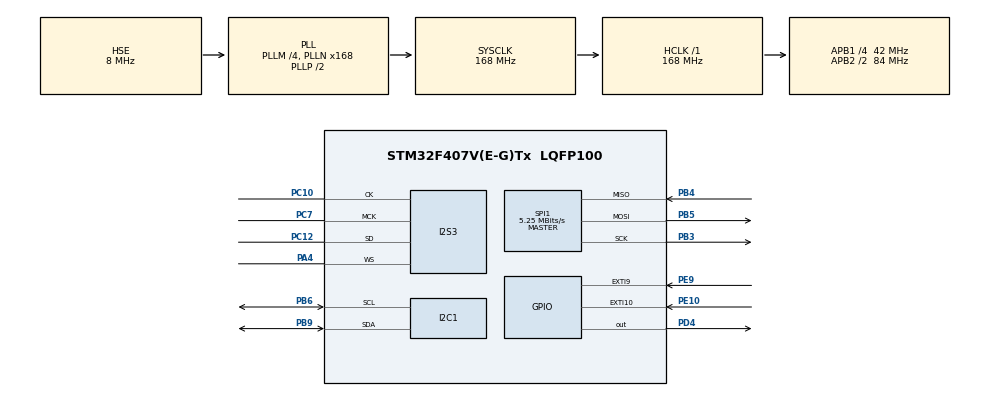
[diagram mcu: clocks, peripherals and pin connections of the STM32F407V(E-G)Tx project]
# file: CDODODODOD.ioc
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Dma.Request0=SPI3_TX
Dma.SPI3_TX.0.Direction=DMA_MEMORY_TO_PERIPH
Dma.SPI3_TX.0.FIFOMode=DMA_FIFOMODE_ENABLE
Dma.SPI3_TX.0.FIFOThreshold=DMA_FIFO_THRESHOLD_FULL
Dma.SPI3_TX.0.Instance=DMA1_Stream5
Dma.SPI3_TX.0.MemBurst=DMA_MBURST_SINGLE
Dma.SPI3_TX.0.MemDataAlignment=DMA_MDATAALIGN_HALFWORD
Dma.SPI3_TX.0.MemInc=DMA_MINC_ENABLE
Dma.SPI3_TX.0.Mode=DMA_CIRCULAR
Dma.SPI3_TX.0.PeriphBurst=DMA_PBURST_SINGLE
Dma.SPI3_TX.0.PeriphDataAlignment=DMA_PDATAALIGN_HALFWORD
Dma.SPI3_TX.0.PeriphInc=DMA_PINC_DISABLE
Dma.SPI3_TX.0.Priority=DMA_PRIORITY_LOW
I2S3.AudioFreq=I2S_AUDIOFREQ_48K
I2S3.ErrorAudioFreq=-2.34 %
I2S3.FullDuplexMode=I2S_FULLDUPLEXMODE_DISABLE
I2S3.Instance=SPI$Index
I2S3.RealAudioFreq=46.875 KHz
I2S3.VirtualMode=I2S_MODE_MASTER
Mcu.Family=STM32F4
Mcu.Name=STM32F407V(E-G)Tx
Mcu.Package=LQFP100
NVIC.DMA1_Stream5_IRQn=true\:0\:0\:false\:false\:true\:false\:true
NVIC.EXTI15_10_IRQn=true\:0\:0\:false\:false\:true\:true\:true
NVIC.EXTI9_5_IRQn=true\:0\:0\:false\:false\:true\:true\:true
NVIC.PriorityGroup=NVIC_PRIORITYGROUP_4
NVIC.TIM3_IRQn=true\:0\:0\:false\:false\:true\:true\:true
NVIC.TIM6_DAC_IRQn=true\:0\:0\:false\:false\:true\:true\:true
PA4.Mode=Half_Duplex_Master
PA4.Signal=I2S3_WS
PB3.Mode=Full_Duplex_Master
PB3.Signal=SPI1_SCK
PB4.Mode=Full_Duplex_Master
PB4.Signal=SPI1_MISO
PB5.Mode=Full_Duplex_Master
PB5.Signal=SPI1_MOSI
PB6.Mode=I2C
PB6.Signal=I2C1_SCL
PB9.Mode=I2C
PB9.Signal=I2C1_SDA
PC10.Mode=Half_Duplex_Master
PC10.Signal=I2S3_CK
PC12.Mode=Half_Duplex_Master
PC12.Signal=I2S3_SD
PC7.Mode=Master_Clock_Activated
PC7.Signal=I2S3_MCK
PD4.Signal=GPIO_Output
PE10.GPIO_ModeDefaultEXTI=GPIO_MODE_IT_FALLING
PE10.GPIO_PuPd=GPIO_PULLUP
PE10.Signal=GPXTI10
PE9.GPIO_ModeDefaultEXTI=GPIO_MODE_IT_FALLING
PE9.GPIO_PuPd=GPIO_PULLUP
PE9.Signal=GPXTI9
PH0-OSC_IN.Mode=HSE-External-Oscillator
PH0-OSC_IN.Signal=RCC_OSC_IN
PH1-OSC_OUT.Mode=HSE-External-Oscillator
PH1-OSC_OUT.Signal=RCC_OSC_OUT
ProjectManager.HeapSize=0x200
ProjectManager.StackSize=0x400
ProjectManager.TargetToolchain=SW4STM32
RCC.48MHZClocksFreq_Value=84000000
RCC.AHBFreq_Value=168000000
RCC.APB1CLKDivider=RCC_HCLK_DIV4
RCC.APB1Freq_Value=42000000
RCC.APB1TimFreq_Value=84000000
RCC.APB2CLKDivider=RCC_HCLK_DIV2
RCC.APB2Freq_Value=84000000
RCC.APB2TimFreq_Value=168000000
RCC.CortexFreq_Value=168000000
RCC.HCLKFreq_Value=168000000
RCC.HSE_VALUE=8000000
RCC.HSI_VALUE=16000000
RCC.LSE_VALUE=32768
RCC.PLLM=4
RCC.PLLN=168
RCC.PLLSourceVirtual=RCC_PLLSOURCE_HSE
RCC.SYSCLKFreq_VALUE=168000000
RCC.SYSCLKSource=RCC_SYSCLKSOURCE_PLLCLK
RCC.VCOOutputFreq_Value=336000000
SPI1.BaudRatePrescaler=SPI_BAUDRATEPRESCALER_16
SPI1.CalculateBaudRate=5.25 MBits/s
SPI1.Direction=SPI_DIRECTION_2LINES
SPI1.Mode=SPI_MODE_MASTER
SPI1.VirtualType=VM_MASTER
TIM3.Period=8399
TIM3.Prescaler=499
TIM6.Period=5109
VP_TIM3_VS_ClockSourceINT.Mode=Internal
VP_TIM6_VS_ClockSourceINT.Mode=Enable_Timer
board=custom

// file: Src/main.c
/* USER CODE BEGIN Header */
/**
  ******************************************************************************
  * @file           : main.c
  * @brief          : Main program body
  ******************************************************************************
  ** This notice applies to any and all portions of this file
  * that are not between comment pairs USER CODE BEGIN and
  * USER CODE END. Other portions of this file, whether
  * inserted by the user or by software development tools
  * are owned by their respective copyright owners.
  *
  * COPYRIGHT(c) 2019 STMicroelectronics
  *
  * Redistribution and use in source and binary forms, with or without modification,
  * are permitted provided that the following conditions are met:
  *   1. Redistributions of source code must retain the above copyright notice,
  *      this list of conditions and the following disclaimer.
  *   2. Redistributions in binary form must reproduce the above copyright notice,
  *      this list of conditions and the following disclaimer in the documentation
  *      and/or other materials provided with the distribution.
  *   3. Neither the name of STMicroelectronics nor the names of its contributors
  *      may be used to endorse or promote products derived from this software
  *      without specific prior written permission.
  *
  * THIS SOFTWARE IS PROVIDED BY THE COPYRIGHT HOLDERS AND CONTRIBUTORS "AS IS"
  * AND ANY EXPRESS OR IMPLIED WARRANTIES, INCLUDING, BUT NOT LIMITED TO, THE
  * IMPLIED WARRANTIES OF MERCHANTABILITY AND FITNESS FOR A PARTICULAR PURPOSE ARE
  * DISCLAIMED. IN NO EVENT SHALL THE COPYRIGHT HOLDER OR CONTRIBUTORS BE LIABLE
  * FOR ANY DIRECT, INDIRECT, INCIDENTAL, SPECIAL, EXEMPLARY, OR CONSEQUENTIAL
  * DAMAGES (INCLUDING, BUT NOT LIMITED TO, PROCUREMENT OF SUBSTITUTE GOODS OR
  * SERVICES; LOSS OF USE, DATA, OR PROFITS; OR BUSINESS INTERRUPTION) HOWEVER
  * CAUSED AND ON ANY THEORY OF LIABILITY, WHETHER IN CONTRACT, STRICT LIABILITY,
  * OR TORT (INCLUDING NEGLIGENCE OR OTHERWISE) ARISING IN ANY WAY OUT OF THE USE
  * OF THIS SOFTWARE, EVEN IF ADVISED OF THE POSSIBILITY OF SUCH DAMAGE.
  *
  ******************************************************************************
  */
/* USER CODE END Header */

#include "main.h"

/* USER CODE BEGIN Includes */
#include "MY_CS43L22.h"
#include "ff.h"
#include <math.h>
#include <string.h>
#include "stm32f4xx.h"

/* USER CODE END Includes */

/* USER CODE BEGIN PD */
#define SDSIZE 1
/* USER CODE END PD */

I2C_HandleTypeDef hi2c1;

I2S_HandleTypeDef hi2s3;
DMA_HandleTypeDef hdma_spi3_tx;

SPI_HandleTypeDef hspi1;

TIM_HandleTypeDef htim3;
TIM_HandleTypeDef htim6;

/* USER CODE BEGIN PV */

int song=1;
/*Private variables-----------------------------------------------------------*/

//FATFs
uint8_t SDbuffer[SDSIZE];      	//bufor odczytu i zapisu
uint16_t tempbuff[SDSIZE];
char buffer[256];          //bufor odczytu i zapisu
static FATFS FatFs;        //uchwyt do urz¹dzenia FatFs (dysku, karty SD...)
FRESULT fresult;           //do przechowywania wyniku operacji na bibliotece FatFs
FIL file;                  //uchwyt do otwartego pliku
WORD bytes_read;           //liczba odczytanych byte
volatile int musicPlayback=0;

//flagi
#define      FA_READ             0x01
#define      FA_WRITE            0x02
#define      FA_OPEN_EXISTING    0x00
#define      FA_CREATE_NEW       0x04
#define      FA_CREATE_ALWAYS    0x08
#define      FA_OPEN_ALWAYS      0x10
#define      FA_OPEN_APPEND      0x30
/* USER CODE END PV */

void SystemClock_Config(void);
static void MX_GPIO_Init(void);
static void MX_DMA_Init(void);
static void MX_I2C1_Init(void);
static void MX_I2S3_Init(void);
static void MX_SPI1_Init(void);
static void MX_TIM3_Init(void);
static void MX_TIM6_Init(void);
/* USER CODE BEGIN PFP */

void HAL_TIM_PeriodElapsedCallback(TIM_HandleTypeDef *htim)
{
    if (htim->Instance == TIM3)
    {

    	if(HAL_GPIO_ReadPin(GPIOE,GPIO_PIN_9) == GPIO_PIN_RESET) {
    	        	song++;
    	        	if(song==3){
    	        		song=0;
    	        	}
    	        }
    	if(HAL_GPIO_ReadPin(GPIOE,GPIO_PIN_10) == GPIO_PIN_RESET) {
        	if(musicPlayback==0){
        		HAL_I2S_DMAStop(&hi2s3);
        		HAL_I2S_DeInit(&hi2s3);
        		hi2s3.Init.AudioFreq = I2S_AUDIOFREQ_16K;
        		HAL_StatusTypeDef result = HAL_I2S_Init(&hi2s3);
        		if(song==0)
        		{

        	    fresult = f_open(&file, "ozone.wav", 1);
        		}
        		else if(song==1)
        		{
        		 fresult = f_open(&file, "whatis.wav", 1);
        		}
        		else if(song==2)
        		{
        		 fresult = f_open(&file, "boom.wav", 1);
        		}

        		f_lseek(&file, 44);
        		HAL_TIM_Base_Start_IT(&htim6);
        	}

        	else {
        		HAL_TIM_Base_Stop_IT(&htim6);
        		HAL_I2S_DeInit(&hi2s3);

        		HAL_StatusTypeDef result = HAL_I2S_Init(&hi2s3);
        		fresult = f_close(&file);
        		musicPlayback=0;
        	}
    	}
        HAL_TIM_Base_Stop_IT(&htim3);
    }
    if (htim->Instance == TIM6){
    	musicPlayback=1;
    	fresult = f_read(&file, SDbuffer, SDSIZE, &bytes_read);
    	tempbuff[0]=SDbuffer[0]*128;
    	HAL_I2S_Transmit_DMA(&hi2s3, (uint16_t *)tempbuff, SDSIZE);
    	if(f_eof(&file)){
    		HAL_TIM_Base_Stop_IT(&htim6);
    		HAL_I2S_DeInit(&hi2s3);

    		HAL_StatusTypeDef result = HAL_I2S_Init(&hi2s3);
    		fresult = f_close(&file);
    		musicPlayback=0;
    	}
    }
}
void HAL_GPIO_EXTI_Callback(uint16_t GPIO_PIN)
{
    HAL_TIM_Base_Start_IT(&htim3);
}
/* USER CODE END PFP */

int main(void)
{

  /* MCU Configuration--------------------------------------------------------*/

  /* Reset of all peripherals, Initializes the Flash interface and the Systick. */
  HAL_Init();

  /* Configure the system clock */
  SystemClock_Config();

  /* Initialize all configured peripherals */
  MX_GPIO_Init();
  MX_DMA_Init();
  MX_I2C1_Init();
  MX_I2S3_Init();
  MX_SPI1_Init();
  MX_TIM3_Init();
  MX_TIM6_Init();
  /* USER CODE BEGIN 2 */
  CS43_Init(hi2c1, MODE_I2S);
  CS43_SetVolume(80);
  CS43_Enable_RightLeft(CS43_RIGHT_LEFT);
  CS43_Start();

  fresult = f_mount(&FatFs, "",1);

  /* USER CODE END 2 */

  /* Infinite loop */
  while (1)
  {

  }
}

void SystemClock_Config(void)
{
  RCC_OscInitTypeDef RCC_OscInitStruct = {0};
  RCC_ClkInitTypeDef RCC_ClkInitStruct = {0};
  RCC_PeriphCLKInitTypeDef PeriphClkInitStruct = {0};

  /** Configure the main internal regulator output voltage
  */
  __HAL_RCC_PWR_CLK_ENABLE();
  __HAL_PWR_VOLTAGESCALING_CONFIG(PWR_REGULATOR_VOLTAGE_SCALE1);
  /** Initializes the CPU, AHB and APB busses clocks
  */
  RCC_OscInitStruct.OscillatorType = RCC_OSCILLATORTYPE_HSE;
  RCC_OscInitStruct.HSEState = RCC_HSE_ON;
  RCC_OscInitStruct.PLL.PLLState = RCC_PLL_ON;
  RCC_OscInitStruct.PLL.PLLSource = RCC_PLLSOURCE_HSE;
  RCC_OscInitStruct.PLL.PLLM = 4;
  RCC_OscInitStruct.PLL.PLLN = 168;
  RCC_OscInitStruct.PLL.PLLP = RCC_PLLP_DIV2;
  RCC_OscInitStruct.PLL.PLLQ = 4;
  if (HAL_RCC_OscConfig(&RCC_OscInitStruct) != HAL_OK)
  {
    Error_Handler();
  }
  /** Initializes the CPU, AHB and APB busses clocks
  */
  RCC_ClkInitStruct.ClockType = RCC_CLOCKTYPE_HCLK|RCC_CLOCKTYPE_SYSCLK
                              |RCC_CLOCKTYPE_PCLK1|RCC_CLOCKTYPE_PCLK2;
  RCC_ClkInitStruct.SYSCLKSource = RCC_SYSCLKSOURCE_PLLCLK;
  RCC_ClkInitStruct.AHBCLKDivider = RCC_SYSCLK_DIV1;
  RCC_ClkInitStruct.APB1CLKDivider = RCC_HCLK_DIV4;
  RCC_ClkInitStruct.APB2CLKDivider = RCC_HCLK_DIV2;

  if (HAL_RCC_ClockConfig(&RCC_ClkInitStruct, FLASH_LATENCY_5) != HAL_OK)
  {
    Error_Handler();
  }
  PeriphClkInitStruct.PeriphClockSelection = RCC_PERIPHCLK_I2S;
  PeriphClkInitStruct.PLLI2S.PLLI2SN = 192;
  PeriphClkInitStruct.PLLI2S.PLLI2SR = 2;
  if (HAL_RCCEx_PeriphCLKConfig(&PeriphClkInitStruct) != HAL_OK)
  {
    Error_Handler();
  }
}

static void MX_I2C1_Init(void)
{

  hi2c1.Instance = I2C1;
  hi2c1.Init.ClockSpeed = 100000;
  hi2c1.Init.DutyCycle = I2C_DUTYCYCLE_2;
  hi2c1.Init.OwnAddress1 = 0;
  hi2c1.Init.AddressingMode = I2C_ADDRESSINGMODE_7BIT;
  hi2c1.Init.DualAddressMode = I2C_DUALADDRESS_DISABLE;
  hi2c1.Init.OwnAddress2 = 0;
  hi2c1.Init.GeneralCallMode = I2C_GENERALCALL_DISABLE;
  hi2c1.Init.NoStretchMode = I2C_NOSTRETCH_DISABLE;
  if (HAL_I2C_Init(&hi2c1) != HAL_OK)
  {
    Error_Handler();
  }

}

static void MX_I2S3_Init(void)
{

  hi2s3.Instance = SPI3;
  hi2s3.Init.Mode = I2S_MODE_MASTER_TX;
  hi2s3.Init.Standard = I2S_STANDARD_PHILIPS;
  hi2s3.Init.DataFormat = I2S_DATAFORMAT_16B;
  hi2s3.Init.MCLKOutput = I2S_MCLKOUTPUT_ENABLE;
  hi2s3.Init.AudioFreq = I2S_AUDIOFREQ_48K;
  hi2s3.Init.CPOL = I2S_CPOL_LOW;
  hi2s3.Init.ClockSource = I2S_CLOCK_PLL;
  hi2s3.Init.FullDuplexMode = I2S_FULLDUPLEXMODE_DISABLE;
  if (HAL_I2S_Init(&hi2s3) != HAL_OK)
  {
    Error_Handler();
  }

}

static void MX_SPI1_Init(void)
{

  /* SPI1 parameter configuration*/
  hspi1.Instance = SPI1;
  hspi1.Init.Mode = SPI_MODE_MASTER;
  hspi1.Init.Direction = SPI_DIRECTION_2LINES;
  hspi1.Init.DataSize = SPI_DATASIZE_8BIT;
  hspi1.Init.CLKPolarity = SPI_POLARITY_LOW;
  hspi1.Init.CLKPhase = SPI_PHASE_1EDGE;
  hspi1.Init.NSS = SPI_NSS_SOFT;
  hspi1.Init.BaudRatePrescaler = SPI_BAUDRATEPRESCALER_16;
  hspi1.Init.FirstBit = SPI_FIRSTBIT_MSB;
  hspi1.Init.TIMode = SPI_TIMODE_DISABLE;
  hspi1.Init.CRCCalculation = SPI_CRCCALCULATION_DISABLE;
  hspi1.Init.CRCPolynomial = 10;
  if (HAL_SPI_Init(&hspi1) != HAL_OK)
  {
    Error_Handler();
  }

}

static void MX_TIM3_Init(void)
{

  TIM_ClockConfigTypeDef sClockSourceConfig = {0};
  TIM_MasterConfigTypeDef sMasterConfig = {0};

  htim3.Instance = TIM3;
  htim3.Init.Prescaler = 499;
  htim3.Init.CounterMode = TIM_COUNTERMODE_UP;
  htim3.Init.Period = 8399;
  htim3.Init.ClockDivision = TIM_CLOCKDIVISION_DIV1;
  htim3.Init.AutoReloadPreload = TIM_AUTORELOAD_PRELOAD_DISABLE;
  if (HAL_TIM_Base_Init(&htim3) != HAL_OK)
  {
    Error_Handler();
  }
  sClockSourceConfig.ClockSource = TIM_CLOCKSOURCE_INTERNAL;
  if (HAL_TIM_ConfigClockSource(&htim3, &sClockSourceConfig) != HAL_OK)
  {
    Error_Handler();
  }
  sMasterConfig.MasterOutputTrigger = TIM_TRGO_RESET;
  sMasterConfig.MasterSlaveMode = TIM_MASTERSLAVEMODE_DISABLE;
  if (HAL_TIMEx_MasterConfigSynchronization(&htim3, &sMasterConfig) != HAL_OK)
  {
    Error_Handler();
  }

}

static void MX_TIM6_Init(void)
{

  TIM_MasterConfigTypeDef sMasterConfig = {0};

  htim6.Instance = TIM6;
  htim6.Init.Prescaler = 0;
  htim6.Init.CounterMode = TIM_COUNTERMODE_UP;
  htim6.Init.Period = 5109;
  htim6.Init.AutoReloadPreload = TIM_AUTORELOAD_PRELOAD_DISABLE;
  if (HAL_TIM_Base_Init(&htim6) != HAL_OK)
  {
    Error_Handler();
  }
  sMasterConfig.MasterOutputTrigger = TIM_TRGO_RESET;
  sMasterConfig.MasterSlaveMode = TIM_MASTERSLAVEMODE_DISABLE;
  if (HAL_TIMEx_MasterConfigSynchronization(&htim6, &sMasterConfig) != HAL_OK)
  {
    Error_Handler();
  }

}

static void MX_DMA_Init(void)
{
  /* DMA controller clock enable */
  __HAL_RCC_DMA1_CLK_ENABLE();

  /* DMA interrupt init */
  /* DMA1_Stream5_IRQn interrupt configuration */
  HAL_NVIC_SetPriority(DMA1_Stream5_IRQn, 0, 0);
  HAL_NVIC_EnableIRQ(DMA1_Stream5_IRQn);

}

static void MX_GPIO_Init(void)
{
  GPIO_InitTypeDef GPIO_InitStruct = {0};

  /* GPIO Ports Clock Enable */
  __HAL_RCC_GPIOH_CLK_ENABLE();
  __HAL_RCC_GPIOA_CLK_ENABLE();
  __HAL_RCC_GPIOE_CLK_ENABLE();
  __HAL_RCC_GPIOC_CLK_ENABLE();
  __HAL_RCC_GPIOD_CLK_ENABLE();
  __HAL_RCC_GPIOB_CLK_ENABLE();

  /*Configure GPIO pin Output Level */
  HAL_GPIO_WritePin(GPIOD, GPIO_PIN_4, GPIO_PIN_RESET);

  /*Configure GPIO pins : PE9 PE10 */
  GPIO_InitStruct.Pin = GPIO_PIN_9|GPIO_PIN_10;
  GPIO_InitStruct.Mode = GPIO_MODE_IT_FALLING;
  GPIO_InitStruct.Pull = GPIO_PULLUP;
  HAL_GPIO_Init(GPIOE, &GPIO_InitStruct);

  /*Configure GPIO pin : PD4 */
  GPIO_InitStruct.Pin = GPIO_PIN_4;
  GPIO_InitStruct.Mode = GPIO_MODE_OUTPUT_PP;
  GPIO_InitStruct.Pull = GPIO_NOPULL;
  GPIO_InitStruct.Speed = GPIO_SPEED_FREQ_LOW;
  HAL_GPIO_Init(GPIOD, &GPIO_InitStruct);

  /* EXTI interrupt init*/
  HAL_NVIC_SetPriority(EXTI9_5_IRQn, 0, 0);
  HAL_NVIC_EnableIRQ(EXTI9_5_IRQn);

  HAL_NVIC_SetPriority(EXTI15_10_IRQn, 0, 0);
  HAL_NVIC_EnableIRQ(EXTI15_10_IRQn);

}

void Error_Handler(void)
{
}

/************************ (C) COPYRIGHT STMicroelectronics *****END OF FILE****/
